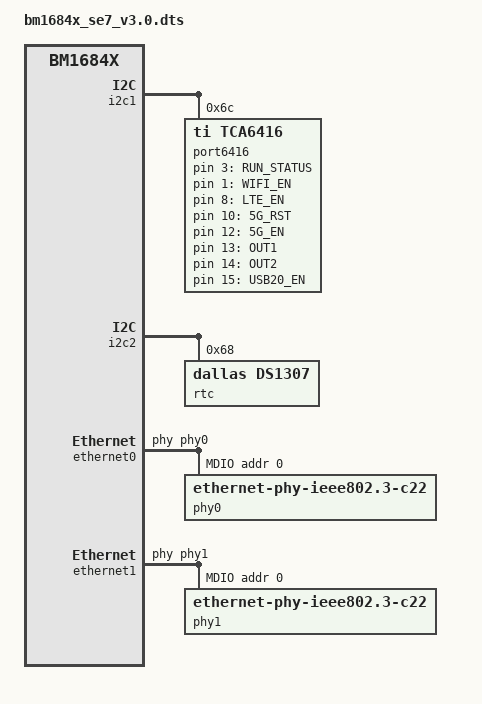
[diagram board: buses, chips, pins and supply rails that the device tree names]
#include "bm1684x_sm7m_v1.0.dts"

/ {
	info {
		file-name = "bm1684x_se7_v3.0.dtb";
	};

	gpioleds: gpio-leds {
		compatible = "gpio-leds";
		status = "okay";

		run_led {
			label = "RUN_STATUS";
			gpios = <&port6416 3 GPIO_ACTIVE_HIGH>;
			linux,default-trigger = "heartbeat";
			default-state = "on";
		};

		wifi_en {
			label = "WIFI_EN";
			gpios = <&port6416 1 GPIO_ACTIVE_HIGH>;
			default-state = "on";
		};

		lte_en {
			label = "LTE_EN";
			gpios = <&port6416 8 GPIO_ACTIVE_HIGH>;
			default-state = "on";
		};

		5g_rst {
			label = "5G_RST";
			gpios = <&port6416 10 GPIO_ACTIVE_HIGH>;
			default-state = "off";
		};

		5g_en {
			label = "5G_EN";
			gpios = <&port6416 12 GPIO_ACTIVE_HIGH>;
			default-state = "off";
		};

		out1 {
			label = "OUT1";
			gpios = <&port6416 13 GPIO_ACTIVE_HIGH>;
			default-state = "off";
		};

		out2 {
			label = "OUT2";
			gpios = <&port6416 14 GPIO_ACTIVE_HIGH>;
			default-state = "off";
		};

		usb20_en {
			label = "USB20_EN";
			gpios = <&port6416 15 GPIO_ACTIVE_HIGH>;
			default-state = "off";
		};
	};
};

&i2c1 {
	/delete-node/ rtc@68;

	port6416: tca6416@6c {
		compatible = "ti,tca6416";
		reg = <0x6c>;
		gpio-controller;
		#gpio-cells = <2>;
	};
};

&pcie0 {
	pcie_irq_enable;
};

&i2c2 {
	pinctrl-names = "default", "dbgi2c";
	pinctrl-0 = <&i2c2_acquire &dbgi2c_release>;

	rtc@68 {
		compatible = "dallas,ds1307";
		reg = <0x68>;
	};
};

&ethernet0 {
	phy-handle = <&phy0>;
	mdio {
		#address-cells = <0x1>;
		#size-cells = <0x0>;
		compatible = "snps,dwmac-mdio";
		phy0: phy@0 {
			compatible = "ethernet-phy-ieee802.3-c22";
			device_type = "ethernet-phy";
			reg = <0x0>;

			rx-internal-delay-ps = <750>;
			motorcomm,rx-clk-drv-microamp = <2910>;
			motorcomm,rx-data-drv-microamp = <2910>;
			led0_config = <0x19f0>;
			led1_config = <0x0007>;
			led2_config = <0x0>;
		};
	};
};

&ethernet1 {
	phy-handle = <&phy1>;
	mdio {
		#address-cells = <0x1>;
		#size-cells = <0x0>;
		compatible = "snps,dwmac-mdio";
		phy1: phy@0 {
			compatible = "ethernet-phy-ieee802.3-c22";
			device_type = "ethernet-phy";
			reg = <0x0>;

			rx-internal-delay-ps = <1200>;
			motorcomm,rx-clk-drv-microamp = <2910>;
			motorcomm,rx-data-drv-microamp = <2910>;
			led0_config = <0x19f0>;
			led1_config = <0x0007>;
			led2_config = <0x0>;
		};
	};
};
